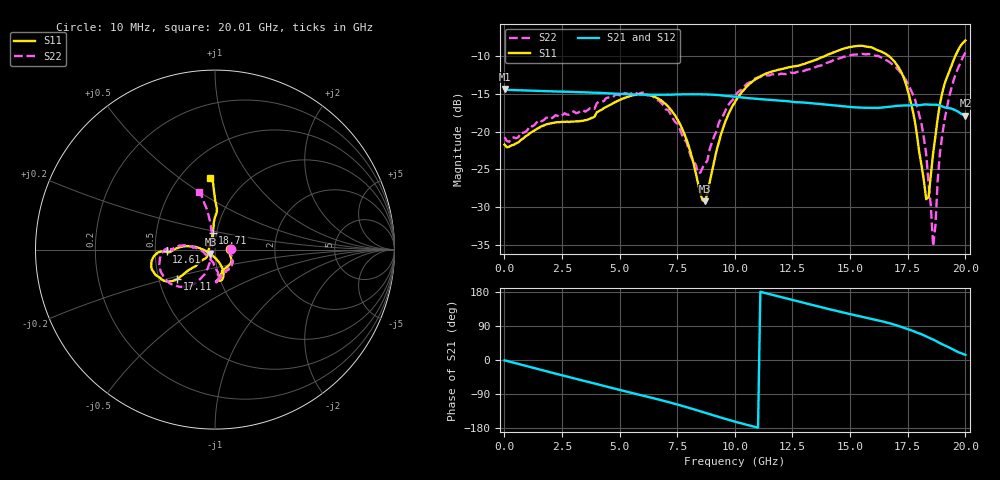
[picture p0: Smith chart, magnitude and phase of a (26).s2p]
! Hittite Microwave Corporation
! 2 Elizabeth Drive
! Chelmsford, MA 01824
! http://www.hittite.com
! Tel: 978-250-3343
! Fax: 978-250-3373
! Device:  HMC424LP3
! Description: 0.5 dB GaAs MMIC 6-Bit Digital Attenuator
! Frequency:  DC -  13.00 GHz
! Package:  LP3  - 3x3 mm Quad Flatpack No-Lead (QFN) Plastic Package: 16 pin
! Ports:  2 RF, 7 DC
!  Pad  1  = Ground
!  Pad  2  = RF IN  = Port 1
!  Pad  3  = Ground
!  Pad  4  = V6
!  Pad  5  = V5
!  Pad  6  = V4
!  Pad  7  = V3
!  Pad  8  = V2
!  Pad  9  = V1
!  Pad 10  = Ground
!  Pad 11  = RF OUT  = Port 2
!  Pad 12  = Ground
!  Pad 15  = VEE
! Control:  -5 Volt control voltage
! State:  24
! Attenuation:  12.0 dB
! Voltages:  Vdd = -5.00 Volts  Idd =  -2.427 mA
!  V1  = 0.00 Volts  I1  =  29.0 uA
!  V2  = 0.00 Volts  I2  =  29.0 uA
!  V3  = 0.00 Volts  I3  =  29.0 uA
!  V4  = -5.00 Volts  I4  =  -1.0 uA
!  V5  = -5.00 Volts  I5  =  -1.0 uA
!  V6  = 0.00 Volts  I6  =  30.0 uA
! Data:  The device was measured on evaluation board 105354-1.
!  Data was collected using a calibrated network analyzer.
!  The evaluation circuit board was modeled and simulated.  This was use
!  to removed the evaluation board circuit from the measured data.
!  The reference plane is the edge of the package pin.
! Misc:  Lot xxxx, Unit 1
!  Application 20120001, Data collected in Application 20090083
! Date Measured:  2009-09-15
! Date:  2012-05-14  MJV
! Note:
!  Hittite supplies this data as a sample of measured data at the package pin
!  for this product.  Your particular data for this product may vary.
!  Data was taken at 25 degrees C.
!  Hittite reserves the right to change this data at anytime.
# GHz S MA R 50
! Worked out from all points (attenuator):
!   201 points, 10 MHz to 20.01 GHz, reference 50 ohm
!   highest |S21| = -14.38 dB at 10 MHz (marker M1); lowest = -17.9 dB at 20.01 GHz (marker M2)
!   lowest |S11| = -29.2 dB at 8.71 GHz (marker M3), VSWR 1.07, Z = 47.5 - j2.28 ohm
!   |S11| at or under -10 dB: start of sweep to 13.93 GHz; 16.68 GHz to 19.58 GHz (2.899 GHz wide, 16 % of centre)
!   |S22| runs from -35.1 to -9.6 dB; largest |S21 - S12| = 0.0033
!   S11 on the Smith chart (normalised r, x): 10 MHz: 1.18, +0.01; 12.61 GHz: 0.58, -0.01; 17.11 GHz: 0.62, -0.22; 18.71 GHz: 0.96, +0.18; 20.01 GHz: 0.69, +0.66
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0.01  0.08197 2.8  0.191 -0.9  0.1883 -1.5  0.09187 2.4
3.41  0.1179 -60.0  0.1818 -54.6  0.1816 -54.6  0.1386 -63.6
5.21  0.1665 -83.0  0.177 -82.1  0.1768 -82.1  0.1797 -87.4
6.71  0.1638 -74.4  0.1751 -104.5  0.1748 -104.5  0.1605 -84.4
7.71  0.105 -68.5  0.1762 -120.9  0.1759 -120.9  0.0951 -88.5
8.41  0.04516 -90.1  0.1762 -133.5  0.1758 -133.5  0.05302 -125.3
8.71  0.03468 -136.4  0.176 -139.1  0.1756 -139.0  0.06117 -157.4
9.41  0.09702 173.3  0.1736 -152.2  0.1734 -152.2  0.1224 175.0
10.01  0.1568 172.9  0.17 -162.7  0.1697 -162.7  0.1714 171.9
12.61  0.2695 -177.8  0.1564 156.8  0.1562 156.9  0.2443 178.7
13.41  0.2934 -178.2  0.1536 144.6  0.1532 144.5  0.2615 178.3
15.31  0.3675 -165.0  0.1444 116.9  0.1442 116.9  0.3229 -161.6
16.71  0.3137 -145.4  0.1458 97.1  0.1455 97.1  0.2882 -134.2
17.11  0.2657 -142.0  0.1481 89.7  0.1479 89.8  0.2545 -126.4
17.71  0.1409 -139.5  0.1497 77.3  0.1495 77.3  0.1783 -116.2
18.31  0.03577 -174.2  0.1511 62.3  0.1508 62.3  0.071 -111.0
18.41  0.03691 143.1  0.1508 59.3  0.1505 59.3  0.04558 -118.2
18.61  0.07193 102.9  0.1505 54.0  0.1501 54.1  0.0175 -173.2
18.71  0.09339 98.2  0.1504 51.0  0.1504 51.0  0.02403 130.2
18.91  0.1536 92.4  0.1488 44.2  0.1486 44.2  0.07311 104.8
19.11  0.2069 87.3  0.1443 38.5  0.1442 38.5  0.1206 100.7
20.01  0.3997 93.6  0.1271 13.7  0.127 13.8  0.3328 105.4
